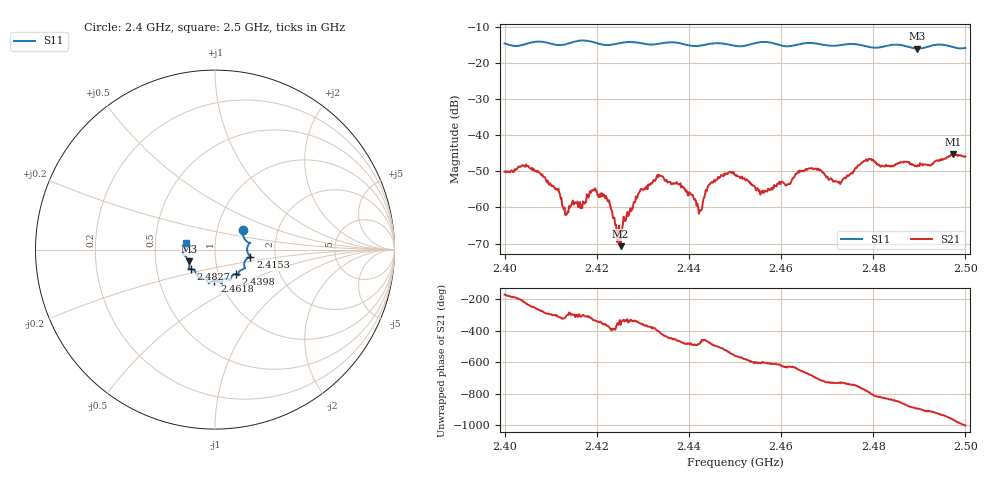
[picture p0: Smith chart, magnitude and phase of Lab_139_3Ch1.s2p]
# Hz S RI R 50
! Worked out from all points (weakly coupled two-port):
!   601 points, 2.4 GHz to 2.5 GHz, reference 50 ohm
!   highest |S21| = -45.23 dB at 2.4973 GHz (marker M1); lowest = -70.7 dB at 2.4252 GHz (marker M2)
!   lowest |S11| = -15.9 dB at 2.4895 GHz (marker M3), VSWR 1.38, Z = 37 - j5.01 ohm
!   |S11| at or under -10 dB: start of sweep to end of sweep
!   S12 and S22 are empty: the file has one direction only
!   S11 on the Smith chart (normalised r, x): 2.4 GHz: 1.33, +0.30; 2.4153 GHz: 1.48, -0.12; 2.4398 GHz: 1.21, -0.34; 2.4618 GHz: 0.94, -0.33; 2.4827 GHz: 0.75, -0.17; 2.5 GHz: 0.72, +0.06
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2.4e9  0.1554 0.1071  -0.00308 -0.000595  0 0  0 0
2.405167e9  0.1856 0.0394  -0.00212 0.00309  0 0  0 0
2.413333e9  0.1833 -0.0193  0.000488 0.000628  0 0  0 0
2.415333e9  0.197 -0.0396  0.000798 0.000878  0 0  0 0
2.416667e9  0.2026 -0.0438  0.000681 0.000843  0 0  0 0
2.4215e9  0.1708 -0.0589  0.00152 2.24e-05  0 0  0 0
2.425167e9  0.1647 -0.0979  0.00029 -1.38e-05  0 0  0 0
2.433333e9  0.1297 -0.1339  0.00199 -0.00173  0 0  0 0
2.439833e9  0.1153 -0.1357  -0.000748 -0.00125  0 0  0 0
2.4425e9  0.0917 -0.1499  -0.000318 -0.000844  0 0  0 0
2.444667e9  0.0842 -0.1668  -0.00114 -0.00186  0 0  0 0
2.45e9  0.0656 -0.162  -0.00266 0.000984  0 0  0 0
2.455667e9  0.0378 -0.1933  -0.000714 0.00148  0 0  0 0
2.461833e9  -0.00356 -0.1729  -7.65e-05 0.00211  0 0  0 0
2.466667e9  -0.0348 -0.1881  0.00281 0.00209  0 0  0 0
2.4725e9  -0.0758 -0.1601  0.00216 -0.00041  0 0  0 0
2.4785e9  -0.101 -0.1391  0.00212 -0.00414  0 0  0 0
2.482667e9  -0.1349 -0.1084  -0.00138 -0.00353  0 0  0 0
2.483333e9  -0.1402 -0.1081  -0.00164 -0.00343  0 0  0 0
2.4895e9  -0.1456 -0.066  -0.00368 -0.00035  0 0  0 0
2.497333e9  -0.1675 -0.00359  -0.00221 0.00501  0 0  0 0
2.5e9  -0.1591 0.0384  0.00118 0.00495  0 0  0 0
